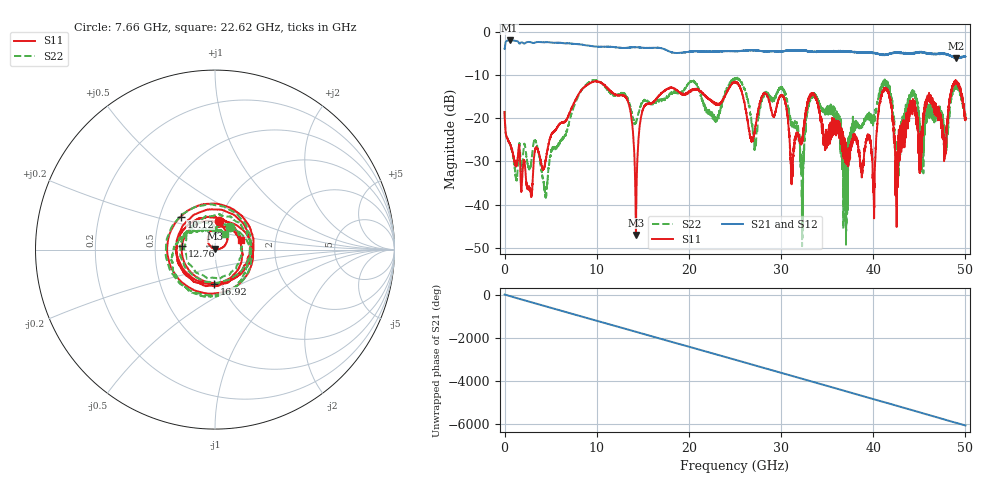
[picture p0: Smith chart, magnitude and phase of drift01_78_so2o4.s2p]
!Created with skrf (http://scikit-rf.org).
# Hz S RI R 50.0
!freq ReS11 ImS11 ReS21 ImS21 ReS12 ImS12 ReS22 ImS22
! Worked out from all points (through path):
!   10001 points, 300 kHz to 50 GHz, reference 50 ohm
!   highest |S21| = -2.00 dB at 540.3 MHz (marker M1); lowest = -6.0 dB at 48.98 GHz (marker M2)
!   group delay of S21, straight-line fit = 336 ps
!   lowest |S11| = -47.0 dB at 14.26 GHz (marker M3), VSWR 1.01, Z = 50 + j0.446 ohm
!   |S11| at or under -10 dB: start of sweep to end of sweep
!   |S22| runs from -49.6 to -10.6 dB; largest |S21 - S12| = 0.018
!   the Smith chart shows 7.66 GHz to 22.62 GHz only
!   S11 on the Smith chart (normalised r, x): 7.66 GHz: 0.99, +0.32; 10.12 GHz: 0.64, +0.25; 12.76 GHz: 0.69, +0.03; 16.92 GHz: 0.92, -0.36; 22.62 GHz: 1.33, +0.15
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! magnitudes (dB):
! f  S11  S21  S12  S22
! 300 kHz  -18.5  -4.0  -4.1  -18.3
! 540.3 MHz  -25.8  -2.0  -2.0  -25.8
! 4.435 GHz  -29.9  -2.4  -2.4  -37.7
! 7.66 GHz  -15.9  -2.8  -2.8  -16.5
! 8.335 GHz  -13.5  -2.9  -3.0  -13.5
! 10.12 GHz  -11.5  -3.4  -3.4  -11.4
! 12.76 GHz  -14.6  -3.7  -3.7  -14.3
! 14.26 GHz  -47.0  -3.6  -3.6  -21.1
! 16.67 GHz  -14.9  -3.7  -3.7  -15.9
! 16.92 GHz  -14.4  -3.8  -3.8  -15.9
! 22.62 GHz  -16.2  -4.6  -4.6  -19.4
! 25 GHz  -11.5  -4.5  -4.5  -11.0
! 27.18 GHz  -22.3  -4.3  -4.3  -26.1
! 30.23 GHz  -14.9  -4.5  -4.5  -13.4
! 32.28 GHz  -25.2  -4.3  -4.3  -49.6
! 33.34 GHz  -14.2  -4.6  -4.6  -15.1
! 36.99 GHz  -27.5  -4.4  -4.5  -37.7
! 40.05 GHz  -37.2  -4.8  -4.9  -19.4
! 41.67 GHz  -13.8  -5.1  -5.1  -13.3
! 42.62 GHz  -30.2  -4.8  -4.8  -32.4
! 48.98 GHz  -11.4  -6.0  -6.0  -12.6
! 50 GHz  -19.9  -5.8  -5.7  -19.2
